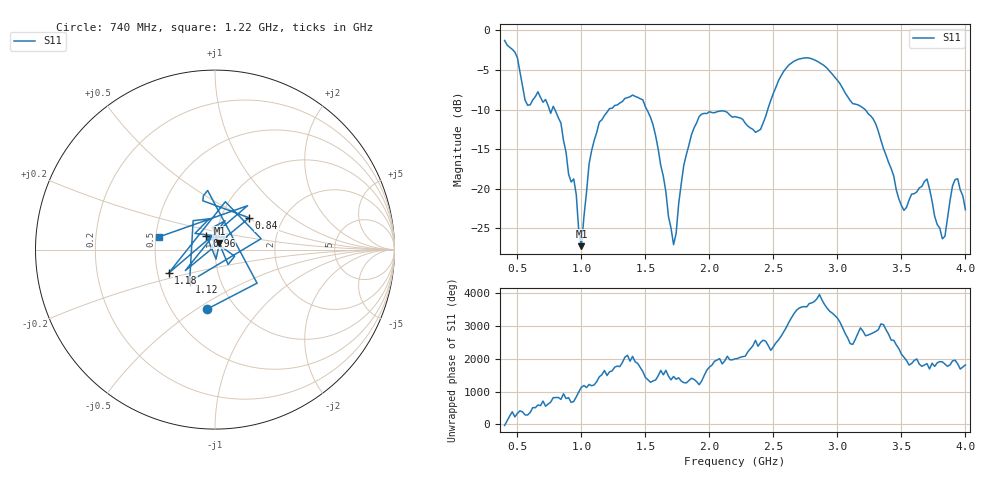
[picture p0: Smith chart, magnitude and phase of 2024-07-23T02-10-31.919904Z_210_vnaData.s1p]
!Created with skrf (http://scikit-rf.org).
# Hz S RI R 50.0
!freq ReS11 ImS11
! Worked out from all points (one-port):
!   181 points, 400 MHz to 4 GHz, reference 50 ohm
!   lowest |S11| = -27.2 dB at 1 GHz (marker M1), VSWR 1.09, Z = 52.4 + j3.76 ohm
!   |S11| at or under -10 dB: 792.4 MHz to 1.214 GHz (421.4 MHz wide, 42 % of centre); 1.511 GHz to 2.455 GHz (944 MHz wide, 47.6 % of centre); 3.217 GHz to end of sweep (the widest 3 of 4)
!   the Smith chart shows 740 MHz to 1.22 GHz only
!   S11 on the Smith chart (normalised r, x): 740 MHz: 0.74, -0.55; 840 MHz: 1.36, +0.52; 960 MHz: 0.90, +0.14; 1.12 GHz: 0.71, -0.27; 1.18 GHz: 0.57, -0.16; 1.22 GHz: 0.52, +0.08
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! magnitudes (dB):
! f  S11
! 400 MHz  -1.3
! 500 MHz  -3.4
! 580 MHz  -9.4
! 740 MHz  -9.5
! 840 MHz  -11.7
! 860 MHz  -13.9
! 960 MHz  -20.8
! 1 GHz  -27.2
! 1.06 GHz  -16.9
! 1.12 GHz  -12.9
! 1.18 GHz  -10.7
! 1.22 GHz  -9.9
! 1.3 GHz  -9.2
! 1.54 GHz  -11.0
! 1.72 GHz  -27.1
! 1.76 GHz  -21.9
! 1.92 GHz  -10.9
! 2.2 GHz  -10.9
! 2.4 GHz  -12.5
! 2.66 GHz  -3.9
! 3.1 GHz  -8.9
! 3.28 GHz  -11.2
! 3.5 GHz  -22.1
! 3.56 GHz  -21.4
! 3.7 GHz  -18.8
! 3.82 GHz  -26.3
! 3.92 GHz  -18.8
! 4 GHz  -22.6
